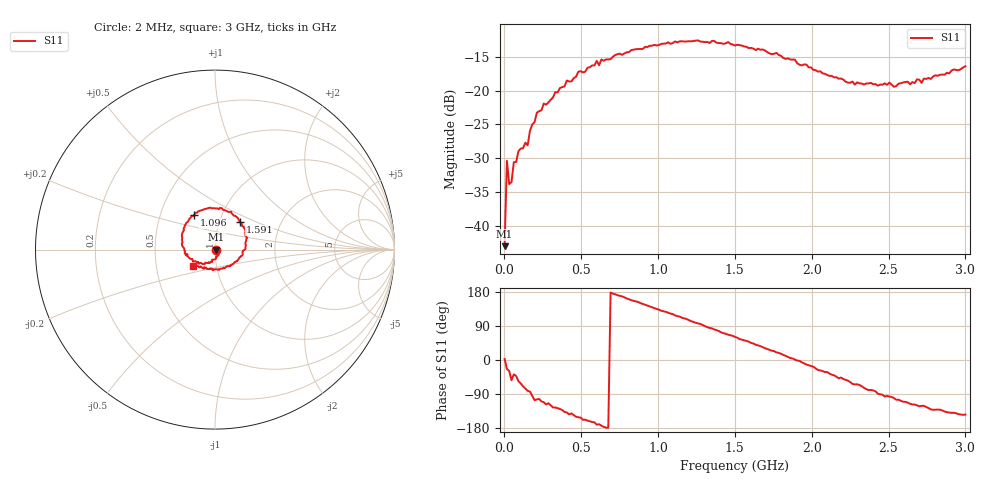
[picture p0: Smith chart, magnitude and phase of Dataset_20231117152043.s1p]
! 1-port S-parameter data taken at 201 frequency points
! Created by R&S SxP Library version 0.2.0 at 17-11-2023 15:28:11
# Hz S RI R 50
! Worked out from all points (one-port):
!   201 points, 2 MHz to 3 GHz, reference 50 ohm
!   lowest |S11| = -43.0 dB at 2 MHz (marker M1), VSWR 1.01, Z = 50.7 + j0.0349 ohm
!   |S11| at or under -10 dB: start of sweep to end of sweep
!   S11 on the Smith chart (normalised r, x): 2 MHz: 1.01, +0.00; 1.096 GHz: 0.74, +0.30; 1.591 GHz: 1.25, +0.40; 3 GHz: 0.77, -0.14
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2000000  0.00704 0.000344
1.699e7  0.0278 -0.012
3.198e7  0.0177 -0.00988
4.697e7  0.0126 -0.0169
6.196e7  0.0234 -0.0181
7.695e7  0.022 -0.0199
9.194e7  0.02 -0.0295
1.3691e8  0.0103 -0.0399
1.519e8  0.006 -0.0389
1.6689e8  0.00592 -0.0501
2.1186e8  -0.0166 -0.0667
3.7675e8  -0.0713 -0.0791
6.016e8  -0.1642 -0.0271
6.1659e8  -0.1518 -0.0286
6.3158e8  -0.1694 -0.0196
7.515e8  -0.1851 0.0345
1.09627e9  -0.1166 0.1934
1.12625e9  -0.0991 0.2058
1.3511e9  0.0271 0.2325
1.501e9  0.1052 0.189
1.59094e9  0.1383 0.1539
1.87575e9  0.1699 0.012
2.2505e9  0.0604 -0.0973
2.50533e9  -0.0129 -0.1142
2.53531e9  -0.0194 -0.1052
2.62525e9  -0.0447 -0.1077
2.71519e9  -0.059 -0.0981
3e9  -0.1229 -0.0897
